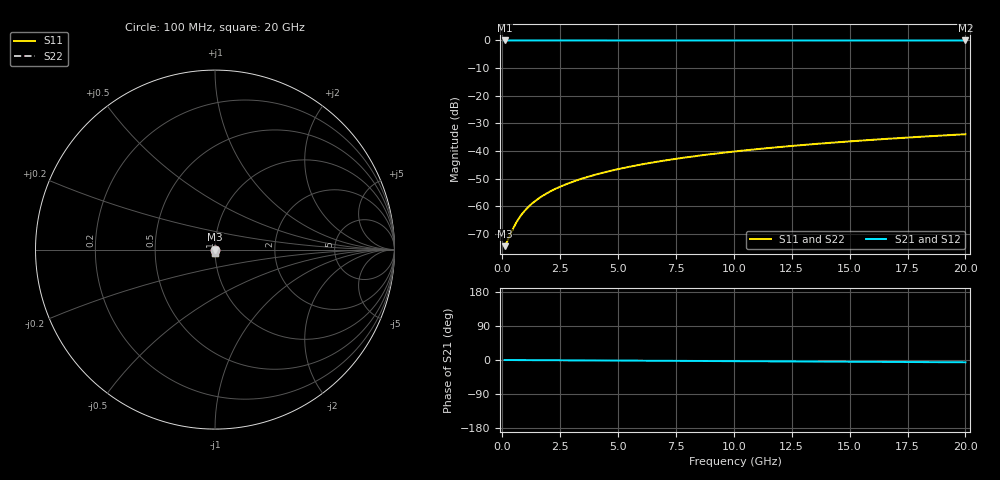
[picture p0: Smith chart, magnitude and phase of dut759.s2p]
! Touchstone file exported from HFSS 2026.1.0
!  File:  C:/ffzhzh/LocalFiles/Ansys_Project_Files/temp_train_TSV_759_1783183182_18472.aedt
!  Generated:  12:41:03 AM Jul  5, 2026
!  Design:  TSV
!  Project:  temp_train_TSV_759_1783183182_18472
! Variables:
!  h_bsmrdl = 2um
!  h_ox = 20um
!  h_rdl = 5um
!  h_sub = 62.13um
!  h_tmrdl = 5um
!  h_tsv = 62.13um
!  h_via = 3um
!  l_bsmrdl = 300um
!  l_sub = 414.32um
!  l_tmrdl = 200um
!  m_sub = 200um
!  pitch = 24.08um
!  r_tsv = 7.16um
!  s_tmrdl = 10um
!  w_bsmrdl = 18um
!  w_sub = 500um
!  w_tmrdl = 12um
!  x_tsv_center1 = 206um
!  x_tsv_center2 = 524um
!  x_tsv_center3 = 736um
!  x_tsv_center4 = 1054um
!  x_tsv_center5 = 1266um
!  x_tsv_center6 = 1584um
# GHz S MA R 50.000000
! Terminal data exported
! Port[1] = TSV1_1_T1
! Port[2] = TSV1_1_T2
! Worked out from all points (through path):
!   200 points, 100 MHz to 20 GHz, reference 50 ohm
!   highest |S21| = 0.00 dB at 100 MHz (marker M1); lowest = 0.0 dB at 20 GHz (marker M2)
!   lowest |S11| = -74.4 dB at 100 MHz (marker M3), VSWR 1.00, Z = 50 - j0.00532 ohm
!   |S11| at or under -10 dB: start of sweep to end of sweep
!   |S22| runs from -74.4 to -33.9 dB; largest |S21 - S12| = 4.3e-15
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0.1  0.0001907 -16.2  0.9998 -0.0  0.9998 -0.0  0.0001907 -16.2
! Gamma 0 0 0 0
! Port Impedance 50 0 50 0
0.2  0.0002271 -29.2  0.9998 -0.1  0.9998 -0.1  0.0002271 -29.2
0.4  0.0003483 -45.4  0.9998 -0.1  0.9998 -0.1  0.0003483 -45.4
0.5  0.0004241 -50.5  0.9997 -0.2  0.9997 -0.2  0.0004241 -50.5
0.7  0.0005917 -57.9  0.9997 -0.2  0.9997 -0.2  0.0005917 -57.9
0.8  0.0006801 -60.6  0.9997 -0.3  0.9997 -0.3  0.0006801 -60.6
1  0.0008614 -65.0  0.9996 -0.3  0.9996 -0.3  0.0008614 -65.0
1.3  0.001139 -69.5  0.9996 -0.4  0.9996 -0.4  0.001139 -69.5
1.7  0.001512 -73.3  0.9995 -0.5  0.9995 -0.5  0.001512 -73.3
2.2  0.001984 -76.3  0.9995 -0.7  0.9995 -0.7  0.001984 -76.3
2.8  0.002555 -78.6  0.9995 -0.9  0.9995 -0.9  0.002555 -78.6
3.5  0.003232 -80.3  0.9994 -1.1  0.9994 -1.1  0.003232 -80.3
4.2  0.003919 -81.5  0.9993 -1.3  0.9993 -1.3  0.003919 -81.5
5  0.004714 -82.6  0.9993 -1.5  0.9993 -1.5  0.004714 -82.6
5.9  0.005619 -83.7  0.9992 -1.8  0.9992 -1.8  0.005619 -83.7
6.8  0.006532 -84.5  0.9991 -2.1  0.9991 -2.1  0.006532 -84.5
8.3  0.008063 -85.8  0.999 -2.5  0.999 -2.5  0.008063 -85.8
10.1  0.00991 -87.0  0.9989 -3.1  0.9989 -3.1  0.00991 -87.0
11.7  0.01156 -88.0  0.9988 -3.6  0.9988 -3.6  0.01156 -88.0
13.4  0.01331 -88.9  0.9987 -4.1  0.9987 -4.1  0.01331 -88.9
16.7  0.01673 -90.5  0.9985 -5.1  0.9985 -5.1  0.01673 -90.5
20  0.02016 -91.8  0.9983 -6.1  0.9983 -6.1  0.02016 -91.8
